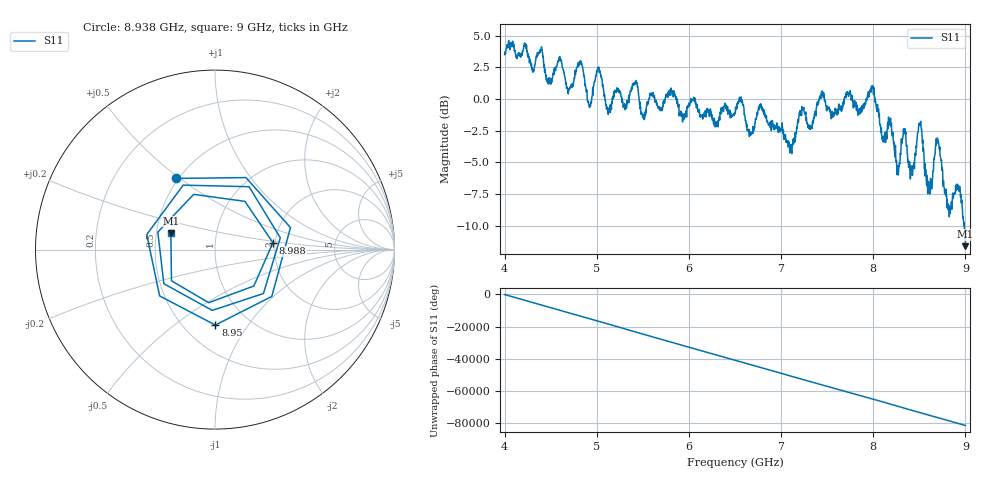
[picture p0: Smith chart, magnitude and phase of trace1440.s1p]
! Created with skrf 1.8.0 (http://scikit-rf.org).
# Hz S RI R 50.0
!freq ReS11 ImS11
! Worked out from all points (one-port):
!   1601 points, 4 GHz to 9 GHz, reference 50 ohm
!   lowest |S11| = -11.6 dB at 9 GHz (marker M1), VSWR 1.71, Z = 29.8 + j5.96 ohm
!   |S11| at or under -10 dB: 8.988887 GHz to end of sweep
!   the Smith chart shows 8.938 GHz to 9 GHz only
!   S11 on the Smith chart (normalised r, x): 8.938 GHz: 0.48, +0.48; 8.95 GHz: 0.70, -0.72; 8.988 GHz: 1.94, +0.17; 9 GHz: 0.60, +0.12
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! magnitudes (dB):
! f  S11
! 4 GHz  3.5
! 4.625 GHz  2.5
! 4.697 GHz  0.7
! 4.825 GHz  2.9
! 4.922 GHz  -0.7
! 5.012 GHz  2.5
! 5.122 GHz  -1.1
! 5.25 GHz  0.5
! 5.875 GHz  -0.1
! 6.5 GHz  -1.1
! 7.125 GHz  -3.6
! 7.222 GHz  -1.3
! 7.312 GHz  -2.4
! 7.441 GHz  0.6
! 7.75 GHz  0.7
! 7.988 GHz  1.0
! 8.259 GHz  -6.0
! 8.328 GHz  -2.4
! 8.375 GHz  -5.0
! 8.422 GHz  -5.3
! 8.506 GHz  -2.0
! 8.603 GHz  -7.1
! 8.697 GHz  -3.1
! 8.819 GHz  -8.5
! 8.938 GHz  -6.9
! 8.95 GHz  -7.5
! 8.988 GHz  -9.8
! 9 GHz  -11.6
